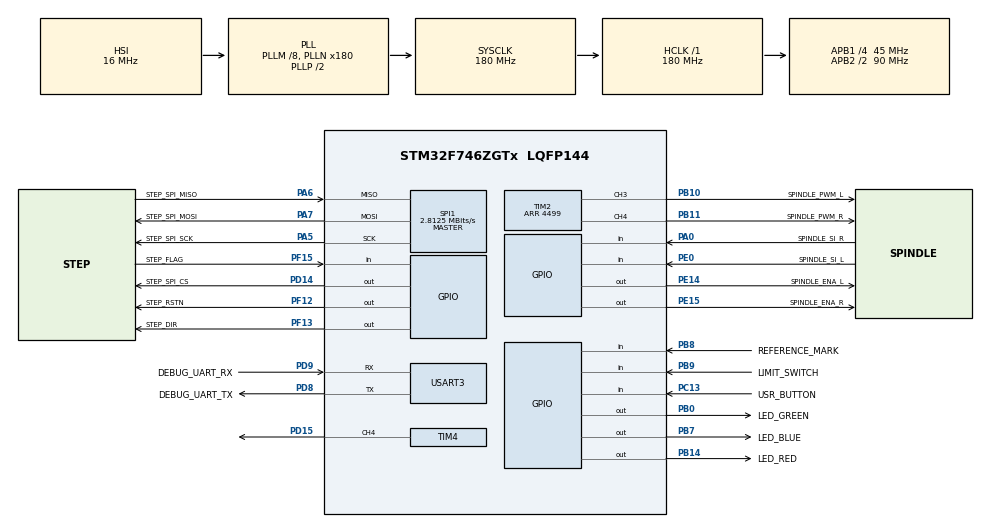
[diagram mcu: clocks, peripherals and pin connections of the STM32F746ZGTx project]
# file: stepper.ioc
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CORTEX_M7.AccessPermission_Spec=MPU_REGION_PRIV_RO_URO
CORTEX_M7.BaseAddress_S-Cortex_Memory_Protection_Unit_Region1_Settings_S=0x60000000
CORTEX_M7.DisableExec_S-Cortex_Memory_Protection_Unit_Region1_Settings_S=MPU_INSTRUCTION_ACCESS_DISABLE
CORTEX_M7.DisableExec_Spec=MPU_INSTRUCTION_ACCESS_ENABLE
CORTEX_M7.Enable_S-Cortex_Memory_Protection_Unit_Region1_Settings_S=MPU_REGION_ENABLE
CORTEX_M7.Enable_S-Cortex_Memory_Protection_Unit_Region2_Settings_S=__NULL
CORTEX_M7.IsShareable_S-Cortex_Memory_Protection_Unit_Region1_Settings_S=MPU_ACCESS_SHAREABLE
CORTEX_M7.IsShareable_Spec=MPU_ACCESS_NOT_SHAREABLE
CORTEX_M7.Size_S-Cortex_Memory_Protection_Unit_Region1_Settings_S=MPU_REGION_SIZE_4GB
CORTEX_M7.Size_Spec=MPU_REGION_SIZE_16KB
CORTEX_M7.SubRegionDisable_S-Cortex_Memory_Protection_Unit_Region1_Settings_S=0x87
CORTEX_M7.SubRegionDisable_Spec=0x0
CORTEX_M7.default_mode_Activation=1
Mcu.Family=STM32F7
Mcu.Name=STM32F746ZGTx
Mcu.Package=LQFP144
NVIC.PriorityGroup=NVIC_PRIORITYGROUP_4
NVIC.SPI1_IRQn=true\:5\:0\:true\:false\:true\:true\:true\:true
NVIC.TIM1_CC_IRQn=true\:0\:0\:false\:false\:true\:true\:true\:true
NVIC.TIM1_UP_TIM10_IRQn=true\:0\:0\:false\:false\:true\:true\:true\:true
PA0/WKUP.GPIO_Label=SPINDLE_SI_R
PA0/WKUP.Signal=GPIO_Input
PA5.GPIO_Label=STEP_SPI_SCK
PA5.Mode=Full_Duplex_Master
PA5.Signal=SPI1_SCK
PA6.GPIO_Label=STEP_SPI_MISO
PA6.Mode=Full_Duplex_Master
PA6.Signal=SPI1_MISO
PA7.GPIO_Label=STEP_SPI_MOSI
PA7.Mode=Full_Duplex_Master
PA7.Signal=SPI1_MOSI
PB0.GPIO_Label=LED_GREEN
PB0.Signal=GPIO_Output
PB10.GPIO_Label=SPINDLE_PWM_L
PB10.Signal=S_TIM2_CH3
PB11.GPIO_Label=SPINDLE_PWM_R
PB11.Signal=S_TIM2_CH4
PB14.GPIO_Label=LED_RED
PB14.Signal=GPIO_Output
PB7.GPIO_Label=LED_BLUE
PB7.Signal=GPIO_Output
PB8.GPIO_Label=REFERENCE_MARK
PB8.Signal=GPIO_Input
PB9.GPIO_Label=LIMIT_SWITCH
PB9.Signal=GPIO_Input
PC13.GPIO_Label=USR_BUTTON
PC13.Signal=GPIO_Input
PD14.GPIO_Label=STEP_SPI_CS
PD14.GPIO_Speed=GPIO_SPEED_FREQ_VERY_HIGH
PD14.PinState=GPIO_PIN_SET
PD14.Signal=GPIO_Output
PD15.Signal=S_TIM4_CH4
PD8.GPIO_Label=DEBUG_UART_TX
PD8.Mode=Asynchronous
PD8.Signal=USART3_TX
PD9.GPIO_Label=DEBUG_UART_RX
PD9.Mode=Asynchronous
PD9.Signal=USART3_RX
PE0.GPIO_Label=SPINDLE_SI_L
PE0.Signal=GPIO_Input
PE14.GPIO_Label=SPINDLE_ENA_L
PE14.Signal=GPIO_Output
PE15.GPIO_Label=SPINDLE_ENA_R
PE15.Signal=GPIO_Output
PF12.GPIO_Label=STEP_RSTN
PF12.Signal=GPIO_Output
PF13.GPIO_Label=STEP_DIR
PF13.GPIO_Speed=GPIO_SPEED_FREQ_VERY_HIGH
PF13.Signal=GPIO_Output
PF15.GPIO_Label=STEP_FLAG
PF15.GPIO_PuPd=GPIO_PULLUP
PF15.Signal=GPIO_Input
PH0/OSC_IN.Mode=HSE-External-Oscillator
PH0/OSC_IN.Signal=RCC_OSC_IN
PH1/OSC_OUT.Mode=HSE-External-Oscillator
PH1/OSC_OUT.Signal=RCC_OSC_OUT
ProjectManager.HeapSize=0x2000
ProjectManager.StackSize=0x800
ProjectManager.TargetToolchain=STM32CubeIDE
RCC.AHBFreq_Value=180000000
RCC.APB1CLKDivider=RCC_HCLK_DIV4
RCC.APB1Freq_Value=45000000
RCC.APB1TimFreq_Value=90000000
RCC.APB2CLKDivider=RCC_HCLK_DIV2
RCC.APB2Freq_Value=90000000
RCC.APB2TimFreq_Value=180000000
RCC.CortexFreq_Value=180000000
RCC.HCLKFreq_Value=180000000
RCC.HSE_VALUE=25000000
RCC.HSI_VALUE=16000000
RCC.LSE_VALUE=32768
RCC.PLLM=8
RCC.PLLN=180
RCC.SYSCLKFreq_VALUE=180000000
RCC.SYSCLKSource=RCC_SYSCLKSOURCE_PLLCLK
RCC.USBFreq_Value=180000000
RCC.VCOOutputFreq_Value=360000000
SH.S_TIM2_CH3.0=TIM2_CH3,PWM Generation3 CH3
SH.S_TIM2_CH4.0=TIM2_CH4,PWM Generation4 CH4
SH.S_TIM4_CH4.0=TIM4_CH4,PWM Generation4 CH4
SPI1.BaudRatePrescaler=SPI_BAUDRATEPRESCALER_32
SPI1.CLKPhase=SPI_PHASE_2EDGE
SPI1.CLKPolarity=SPI_POLARITY_HIGH
SPI1.CalculateBaudRate=2.8125 MBits/s
SPI1.DataSize=SPI_DATASIZE_8BIT
SPI1.Direction=SPI_DIRECTION_2LINES
SPI1.Mode=SPI_MODE_MASTER
SPI1.VirtualType=VM_MASTER
TIM1.Channel-Output\ Compare1\ No\ Output=TIM_CHANNEL_1
TIM1.TIM_MasterOutputTrigger=TIM_TRGO_ENABLE
TIM1.TIM_MasterOutputTrigger2=TIM_TRGO2_ENABLE
TIM2.Channel-PWM\ Generation3\ CH3=TIM_CHANNEL_3
TIM2.Channel-PWM\ Generation4\ CH4=TIM_CHANNEL_4
TIM2.Period=4499
TIM4.AutoReloadPreload=TIM_AUTORELOAD_PRELOAD_ENABLE
TIM4.Channel-PWM\ Generation4\ CH4=TIM_CHANNEL_4
TIM4.Period=3115
TIM4.Prescaler=1
TIM4.TIM_MasterOutputTrigger=TIM_TRGO_UPDATE
USART3.VirtualMode-Asynchronous=VM_ASYNC
VP_TIM1_VS_ClockSourceITR.Mode=TriggerSource_ITR3
VP_TIM1_VS_ControllerModeClock.Mode=Clock Mode
VP_TIM1_VS_OPM.Mode=OPM_bit
VP_TIM1_VS_no_output1.Mode=Output Compare1 No Output
VP_TIM2_VS_ClockSourceINT.Mode=Internal
VP_TIM4_VS_ClockSourceINT.Mode=Internal
VP_TIM4_VS_ClockSourceITR.Mode=TriggerSource_ITR0
VP_TIM4_VS_ControllerModeGated.Mode=Gated Mode
board=custom

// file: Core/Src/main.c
/* USER CODE BEGIN Header */
/**
 ******************************************************************************
 * @file           : main.c
 * @brief          : Main program body
 ******************************************************************************
 * @attention
 *
 * Copyright (c) 2024 STMicroelectronics.
 * All rights reserved.
 *
 * This software is licensed under terms that can be found in the LICENSE file
 * in the root directory of this software component.
 * If no LICENSE file comes with this software, it is provided AS-IS.
 *
 ******************************************************************************
 */
/* USER CODE END Header */
#include "main.h"

/* USER CODE BEGIN Includes */
#include "FreeRTOS.h"
#include "task.h"
#include "stdio.h"
#include <stdlib.h>
#include "Console.h"
#include <stdio.h>
#include <stdlib.h>
#include <string.h>
#include <stdbool.h>
#include "Spindle.h"
#include "stepper.h"

/* USER CODE END Includes */

SPI_HandleTypeDef hspi1;

TIM_HandleTypeDef htim1;
TIM_HandleTypeDef htim2;
TIM_HandleTypeDef htim4;

UART_HandleTypeDef huart3;

/* USER CODE BEGIN PV */
TaskHandle_t InitTaskHandle = NULL;
ConsoleHandle_t consoleHandle = NULL;

/* USER CODE END PV */

void SystemClock_Config(void);
static void MPU_Config(void);
static void MX_GPIO_Init(void);
static void MX_SPI1_Init(void);
static void MX_USART3_UART_Init(void);
static void MX_TIM2_Init(void);
static void MX_TIM1_Init(void);
static void MX_TIM4_Init(void);
/* USER CODE BEGIN PFP */
static int CapabilityFunc(int argc, char **argv, void *ctx);
void InitTask();

extern void initialise_stdlib_abstraction(void);
void vApplicationMallocFailedHook(void)
{
  taskDISABLE_INTERRUPTS();
  __asm volatile("bkpt #0");
  for (;;)
  {
    ;
  }
}
/*-----------------------------------------------------------*/
void vApplicationStackOverflowHook(TaskHandle_t pxTask, char *pcTaskName)
{
  (void)pcTaskName;
  (void)pxTask;

  taskDISABLE_INTERRUPTS();
  __asm volatile("bkpt #0");
  for (;;)
  {
    ;
  }
}
/* USER CODE END PFP */

/* USER CODE BEGIN 0 */
void InitTask()
{

  consoleHandle = CONSOLE_CreateInstance(4 * configMINIMAL_STACK_SIZE, configMAX_PRIORITIES - 5);

  CONSOLE_RegisterCommand(consoleHandle, "capability", "Shows what the program is capable of", CapabilityFunc, NULL);

  InitStepper(consoleHandle, &hspi1, &htim1, &htim4);
  InitSpindle(consoleHandle, &htim2);

}

// -------------------------------------------------------------------------------------------------------------------
static int CapabilityFunc(int argc, char **argv, void *ctx)
// --------------------------------------------------------------------------------------------------------------------
{
  (void)argc;
  (void)argv;
  (void)ctx;
  printf("%d,%d,%d,%d,%d,%d,%d,%d,%d,%d,%d,%d,%d,%d,%d,%d,%d,%d,%d,%d,%d,%d,%d,%d,%d,%d,%d\r\nOK",
         1, // has spindle
         1, // has spindle status
         1, // has stepper
         1, // has stepper move relative
         1, // has stepper move speed
         1, // has stepper move async
         1, // has stepper status
         1, // has stepper refrun
         1, // has stepper refrun timeout
         1, // has stepper refrun skip
         1, // has stepper refrun stay enabled
         1, // has stepper reset
         1, // has stepper position
         1, // has stepper config
         1, // has stepper config torque
         1, // has stepper config throvercurr
         1, // has stepper config powerena
         1, // has stepper config stepmode
         1, // has stepper config timeoff
         1, // has stepper config timeon
         1, // has stepper config timefast
         1, // has stepper config mmperturn
         1, // has stepper config posmax
         1, // has stepper config posmin
         1, // has stepper config posref
         1, // has stepper config stepsperturn
         1  // has stepper cancel
  );
  return 0;
}
/* USER CODE END 0 */

int main(void)
{

  /* MPU Configuration--------------------------------------------------------*/  MPU_Config();

  /* MCU Configuration--------------------------------------------------------*/

  /* Reset of all peripherals, Initializes the Flash interface and the Systick. */
  HAL_Init();

  /* Configure the system clock */
  SystemClock_Config();

  /* Initialize all configured peripherals */
  MX_GPIO_Init();
  MX_SPI1_Init();
  MX_USART3_UART_Init();
  MX_TIM2_Init();
  MX_TIM1_Init();
  MX_TIM4_Init();
  /* USER CODE BEGIN 2 */

  printf("System init start\r\n");

  //(void)CapabilityFunc;

  InitTask();
  vTaskStartScheduler();
  /* USER CODE END 2 */

  /* Infinite loop */
  while (1)
  {

    /* USER CODE BEGIN 3 */
  }
  return -1;
  /* USER CODE END 3 */
}

void SystemClock_Config(void)
{
  RCC_OscInitTypeDef RCC_OscInitStruct = {0};
  RCC_ClkInitTypeDef RCC_ClkInitStruct = {0};

  /** Configure the main internal regulator output voltage
  */
  __HAL_RCC_PWR_CLK_ENABLE();
  __HAL_PWR_VOLTAGESCALING_CONFIG(PWR_REGULATOR_VOLTAGE_SCALE1);

  /** Initializes the RCC Oscillators according to the specified parameters
  * in the RCC_OscInitTypeDef structure.
  */
  RCC_OscInitStruct.OscillatorType = RCC_OSCILLATORTYPE_HSI;
  RCC_OscInitStruct.HSIState = RCC_HSI_ON;
  RCC_OscInitStruct.HSICalibrationValue = RCC_HSICALIBRATION_DEFAULT;
  RCC_OscInitStruct.PLL.PLLState = RCC_PLL_ON;
  RCC_OscInitStruct.PLL.PLLSource = RCC_PLLSOURCE_HSI;
  RCC_OscInitStruct.PLL.PLLM = 8;
  RCC_OscInitStruct.PLL.PLLN = 180;
  RCC_OscInitStruct.PLL.PLLP = RCC_PLLP_DIV2;
  RCC_OscInitStruct.PLL.PLLQ = 2;
  if (HAL_RCC_OscConfig(&RCC_OscInitStruct) != HAL_OK)
  {
    Error_Handler();
  }

  /** Initializes the CPU, AHB and APB buses clocks
  */
  RCC_ClkInitStruct.ClockType = RCC_CLOCKTYPE_HCLK|RCC_CLOCKTYPE_SYSCLK
                              |RCC_CLOCKTYPE_PCLK1|RCC_CLOCKTYPE_PCLK2;
  RCC_ClkInitStruct.SYSCLKSource = RCC_SYSCLKSOURCE_PLLCLK;
  RCC_ClkInitStruct.AHBCLKDivider = RCC_SYSCLK_DIV1;
  RCC_ClkInitStruct.APB1CLKDivider = RCC_HCLK_DIV4;
  RCC_ClkInitStruct.APB2CLKDivider = RCC_HCLK_DIV2;

  if (HAL_RCC_ClockConfig(&RCC_ClkInitStruct, FLASH_LATENCY_5) != HAL_OK)
  {
    Error_Handler();
  }
}

static void MX_SPI1_Init(void)
{

  /* SPI1 parameter configuration*/
  hspi1.Instance = SPI1;
  hspi1.Init.Mode = SPI_MODE_MASTER;
  hspi1.Init.Direction = SPI_DIRECTION_2LINES;
  hspi1.Init.DataSize = SPI_DATASIZE_8BIT;
  hspi1.Init.CLKPolarity = SPI_POLARITY_HIGH;
  hspi1.Init.CLKPhase = SPI_PHASE_2EDGE;
  hspi1.Init.NSS = SPI_NSS_SOFT;
  hspi1.Init.BaudRatePrescaler = SPI_BAUDRATEPRESCALER_32;
  hspi1.Init.FirstBit = SPI_FIRSTBIT_MSB;
  hspi1.Init.TIMode = SPI_TIMODE_DISABLE;
  hspi1.Init.CRCCalculation = SPI_CRCCALCULATION_DISABLE;
  hspi1.Init.CRCPolynomial = 7;
  hspi1.Init.CRCLength = SPI_CRC_LENGTH_DATASIZE;
  hspi1.Init.NSSPMode = SPI_NSS_PULSE_DISABLE;
  if (HAL_SPI_Init(&hspi1) != HAL_OK)
  {
    Error_Handler();
  }

}

static void MX_TIM1_Init(void)
{

  TIM_SlaveConfigTypeDef sSlaveConfig = {0};
  TIM_MasterConfigTypeDef sMasterConfig = {0};
  TIM_OC_InitTypeDef sConfigOC = {0};
  TIM_BreakDeadTimeConfigTypeDef sBreakDeadTimeConfig = {0};

  htim1.Instance = TIM1;
  htim1.Init.Prescaler = 0;
  htim1.Init.CounterMode = TIM_COUNTERMODE_UP;
  htim1.Init.Period = 65535;
  htim1.Init.ClockDivision = TIM_CLOCKDIVISION_DIV1;
  htim1.Init.RepetitionCounter = 0;
  htim1.Init.AutoReloadPreload = TIM_AUTORELOAD_PRELOAD_DISABLE;
  if (HAL_TIM_Base_Init(&htim1) != HAL_OK)
  {
    Error_Handler();
  }
  if (HAL_TIM_OC_Init(&htim1) != HAL_OK)
  {
    Error_Handler();
  }
  if (HAL_TIM_OnePulse_Init(&htim1, TIM_OPMODE_SINGLE) != HAL_OK)
  {
    Error_Handler();
  }
  sSlaveConfig.SlaveMode = TIM_SLAVEMODE_EXTERNAL1;
  sSlaveConfig.InputTrigger = TIM_TS_ITR3;
  if (HAL_TIM_SlaveConfigSynchro(&htim1, &sSlaveConfig) != HAL_OK)
  {
    Error_Handler();
  }
  sMasterConfig.MasterOutputTrigger = TIM_TRGO_ENABLE;
  sMasterConfig.MasterOutputTrigger2 = TIM_TRGO2_ENABLE;
  sMasterConfig.MasterSlaveMode = TIM_MASTERSLAVEMODE_DISABLE;
  if (HAL_TIMEx_MasterConfigSynchronization(&htim1, &sMasterConfig) != HAL_OK)
  {
    Error_Handler();
  }
  sConfigOC.OCMode = TIM_OCMODE_TIMING;
  sConfigOC.Pulse = 0;
  sConfigOC.OCPolarity = TIM_OCPOLARITY_HIGH;
  sConfigOC.OCNPolarity = TIM_OCNPOLARITY_HIGH;
  sConfigOC.OCFastMode = TIM_OCFAST_DISABLE;
  sConfigOC.OCIdleState = TIM_OCIDLESTATE_RESET;
  sConfigOC.OCNIdleState = TIM_OCNIDLESTATE_RESET;
  if (HAL_TIM_OC_ConfigChannel(&htim1, &sConfigOC, TIM_CHANNEL_1) != HAL_OK)
  {
    Error_Handler();
  }
  sBreakDeadTimeConfig.OffStateRunMode = TIM_OSSR_DISABLE;
  sBreakDeadTimeConfig.OffStateIDLEMode = TIM_OSSI_DISABLE;
  sBreakDeadTimeConfig.LockLevel = TIM_LOCKLEVEL_OFF;
  sBreakDeadTimeConfig.DeadTime = 0;
  sBreakDeadTimeConfig.BreakState = TIM_BREAK_DISABLE;
  sBreakDeadTimeConfig.BreakPolarity = TIM_BREAKPOLARITY_HIGH;
  sBreakDeadTimeConfig.BreakFilter = 0;
  sBreakDeadTimeConfig.Break2State = TIM_BREAK2_DISABLE;
  sBreakDeadTimeConfig.Break2Polarity = TIM_BREAK2POLARITY_HIGH;
  sBreakDeadTimeConfig.Break2Filter = 0;
  sBreakDeadTimeConfig.AutomaticOutput = TIM_AUTOMATICOUTPUT_DISABLE;
  if (HAL_TIMEx_ConfigBreakDeadTime(&htim1, &sBreakDeadTimeConfig) != HAL_OK)
  {
    Error_Handler();
  }

}

static void MX_TIM2_Init(void)
{

  TIM_ClockConfigTypeDef sClockSourceConfig = {0};
  TIM_MasterConfigTypeDef sMasterConfig = {0};
  TIM_OC_InitTypeDef sConfigOC = {0};

  htim2.Instance = TIM2;
  htim2.Init.Prescaler = 0;
  htim2.Init.CounterMode = TIM_COUNTERMODE_UP;
  htim2.Init.Period = 4499;
  htim2.Init.ClockDivision = TIM_CLOCKDIVISION_DIV1;
  htim2.Init.AutoReloadPreload = TIM_AUTORELOAD_PRELOAD_DISABLE;
  if (HAL_TIM_Base_Init(&htim2) != HAL_OK)
  {
    Error_Handler();
  }
  sClockSourceConfig.ClockSource = TIM_CLOCKSOURCE_INTERNAL;
  if (HAL_TIM_ConfigClockSource(&htim2, &sClockSourceConfig) != HAL_OK)
  {
    Error_Handler();
  }
  if (HAL_TIM_PWM_Init(&htim2) != HAL_OK)
  {
    Error_Handler();
  }
  sMasterConfig.MasterOutputTrigger = TIM_TRGO_RESET;
  sMasterConfig.MasterSlaveMode = TIM_MASTERSLAVEMODE_DISABLE;
  if (HAL_TIMEx_MasterConfigSynchronization(&htim2, &sMasterConfig) != HAL_OK)
  {
    Error_Handler();
  }
  sConfigOC.OCMode = TIM_OCMODE_PWM1;
  sConfigOC.Pulse = 0;
  sConfigOC.OCPolarity = TIM_OCPOLARITY_HIGH;
  sConfigOC.OCFastMode = TIM_OCFAST_DISABLE;
  if (HAL_TIM_PWM_ConfigChannel(&htim2, &sConfigOC, TIM_CHANNEL_3) != HAL_OK)
  {
    Error_Handler();
  }
  if (HAL_TIM_PWM_ConfigChannel(&htim2, &sConfigOC, TIM_CHANNEL_4) != HAL_OK)
  {
    Error_Handler();
  }
  HAL_TIM_MspPostInit(&htim2);

}

static void MX_TIM4_Init(void)
{

  TIM_ClockConfigTypeDef sClockSourceConfig = {0};
  TIM_SlaveConfigTypeDef sSlaveConfig = {0};
  TIM_MasterConfigTypeDef sMasterConfig = {0};
  TIM_OC_InitTypeDef sConfigOC = {0};

  htim4.Instance = TIM4;
  htim4.Init.Prescaler = 1;
  htim4.Init.CounterMode = TIM_COUNTERMODE_UP;
  htim4.Init.Period = 3115;
  htim4.Init.ClockDivision = TIM_CLOCKDIVISION_DIV1;
  htim4.Init.AutoReloadPreload = TIM_AUTORELOAD_PRELOAD_ENABLE;
  if (HAL_TIM_Base_Init(&htim4) != HAL_OK)
  {
    Error_Handler();
  }
  sClockSourceConfig.ClockSource = TIM_CLOCKSOURCE_INTERNAL;
  if (HAL_TIM_ConfigClockSource(&htim4, &sClockSourceConfig) != HAL_OK)
  {
    Error_Handler();
  }
  if (HAL_TIM_PWM_Init(&htim4) != HAL_OK)
  {
    Error_Handler();
  }
  sSlaveConfig.SlaveMode = TIM_SLAVEMODE_GATED;
  sSlaveConfig.InputTrigger = TIM_TS_ITR0;
  if (HAL_TIM_SlaveConfigSynchro(&htim4, &sSlaveConfig) != HAL_OK)
  {
    Error_Handler();
  }
  sMasterConfig.MasterOutputTrigger = TIM_TRGO_UPDATE;
  sMasterConfig.MasterSlaveMode = TIM_MASTERSLAVEMODE_DISABLE;
  if (HAL_TIMEx_MasterConfigSynchronization(&htim4, &sMasterConfig) != HAL_OK)
  {
    Error_Handler();
  }
  sConfigOC.OCMode = TIM_OCMODE_PWM1;
  sConfigOC.Pulse = 0;
  sConfigOC.OCPolarity = TIM_OCPOLARITY_HIGH;
  sConfigOC.OCFastMode = TIM_OCFAST_DISABLE;
  if (HAL_TIM_PWM_ConfigChannel(&htim4, &sConfigOC, TIM_CHANNEL_4) != HAL_OK)
  {
    Error_Handler();
  }
  HAL_TIM_MspPostInit(&htim4);

}

static void MX_USART3_UART_Init(void)
{

  huart3.Instance = USART3;
  huart3.Init.BaudRate = 115200;
  huart3.Init.WordLength = UART_WORDLENGTH_8B;
  huart3.Init.StopBits = UART_STOPBITS_1;
  huart3.Init.Parity = UART_PARITY_NONE;
  huart3.Init.Mode = UART_MODE_TX_RX;
  huart3.Init.HwFlowCtl = UART_HWCONTROL_NONE;
  huart3.Init.OverSampling = UART_OVERSAMPLING_16;
  huart3.Init.OneBitSampling = UART_ONE_BIT_SAMPLE_DISABLE;
  huart3.AdvancedInit.AdvFeatureInit = UART_ADVFEATURE_NO_INIT;
  if (HAL_UART_Init(&huart3) != HAL_OK)
  {
    Error_Handler();
  }

}

static void MX_GPIO_Init(void)
{
  GPIO_InitTypeDef GPIO_InitStruct = {0};

  /* GPIO Ports Clock Enable */
  __HAL_RCC_GPIOC_CLK_ENABLE();
  __HAL_RCC_GPIOH_CLK_ENABLE();
  __HAL_RCC_GPIOA_CLK_ENABLE();
  __HAL_RCC_GPIOB_CLK_ENABLE();
  __HAL_RCC_GPIOF_CLK_ENABLE();
  __HAL_RCC_GPIOE_CLK_ENABLE();
  __HAL_RCC_GPIOD_CLK_ENABLE();

  /*Configure GPIO pin Output Level */
  HAL_GPIO_WritePin(GPIOB, LED_GREEN_Pin|LED_RED_Pin|LED_BLUE_Pin, GPIO_PIN_RESET);

  /*Configure GPIO pin Output Level */
  HAL_GPIO_WritePin(GPIOF, STEP_RSTN_Pin|STEP_DIR_Pin, GPIO_PIN_RESET);

  /*Configure GPIO pin Output Level */
  HAL_GPIO_WritePin(GPIOE, SPINDLE_ENA_L_Pin|SPINDLE_ENA_R_Pin, GPIO_PIN_RESET);

  /*Configure GPIO pin Output Level */
  HAL_GPIO_WritePin(STEP_SPI_CS_GPIO_Port, STEP_SPI_CS_Pin, GPIO_PIN_SET);

  /*Configure GPIO pin : USR_BUTTON_Pin */
  GPIO_InitStruct.Pin = USR_BUTTON_Pin;
  GPIO_InitStruct.Mode = GPIO_MODE_INPUT;
  GPIO_InitStruct.Pull = GPIO_NOPULL;
  HAL_GPIO_Init(USR_BUTTON_GPIO_Port, &GPIO_InitStruct);

  /*Configure GPIO pin : SPINDLE_SI_R_Pin */
  GPIO_InitStruct.Pin = SPINDLE_SI_R_Pin;
  GPIO_InitStruct.Mode = GPIO_MODE_INPUT;
  GPIO_InitStruct.Pull = GPIO_NOPULL;
  HAL_GPIO_Init(SPINDLE_SI_R_GPIO_Port, &GPIO_InitStruct);

  /*Configure GPIO pins : LED_GREEN_Pin LED_RED_Pin LED_BLUE_Pin */
  GPIO_InitStruct.Pin = LED_GREEN_Pin|LED_RED_Pin|LED_BLUE_Pin;
  GPIO_InitStruct.Mode = GPIO_MODE_OUTPUT_PP;
  GPIO_InitStruct.Pull = GPIO_NOPULL;
  GPIO_InitStruct.Speed = GPIO_SPEED_FREQ_LOW;
  HAL_GPIO_Init(GPIOB, &GPIO_InitStruct);

  /*Configure GPIO pin : STEP_RSTN_Pin */
  GPIO_InitStruct.Pin = STEP_RSTN_Pin;
  GPIO_InitStruct.Mode = GPIO_MODE_OUTPUT_PP;
  GPIO_InitStruct.Pull = GPIO_NOPULL;
  GPIO_InitStruct.Speed = GPIO_SPEED_FREQ_LOW;
  HAL_GPIO_Init(STEP_RSTN_GPIO_Port, &GPIO_InitStruct);

  /*Configure GPIO pin : STEP_DIR_Pin */
  GPIO_InitStruct.Pin = STEP_DIR_Pin;
  GPIO_InitStruct.Mode = GPIO_MODE_OUTPUT_PP;
  GPIO_InitStruct.Pull = GPIO_NOPULL;
  GPIO_InitStruct.Speed = GPIO_SPEED_FREQ_VERY_HIGH;
  HAL_GPIO_Init(STEP_DIR_GPIO_Port, &GPIO_InitStruct);

  /*Configure GPIO pin : STEP_FLAG_Pin */
  GPIO_InitStruct.Pin = STEP_FLAG_Pin;
  GPIO_InitStruct.Mode = GPIO_MODE_INPUT;
  GPIO_InitStruct.Pull = GPIO_PULLUP;
  HAL_GPIO_Init(STEP_FLAG_GPIO_Port, &GPIO_InitStruct);

  /*Configure GPIO pins : SPINDLE_ENA_L_Pin SPINDLE_ENA_R_Pin */
  GPIO_InitStruct.Pin = SPINDLE_ENA_L_Pin|SPINDLE_ENA_R_Pin;
  GPIO_InitStruct.Mode = GPIO_MODE_OUTPUT_PP;
  GPIO_InitStruct.Pull = GPIO_NOPULL;
  GPIO_InitStruct.Speed = GPIO_SPEED_FREQ_LOW;
  HAL_GPIO_Init(GPIOE, &GPIO_InitStruct);

  /*Configure GPIO pin : STEP_SPI_CS_Pin */
  GPIO_InitStruct.Pin = STEP_SPI_CS_Pin;
  GPIO_InitStruct.Mode = GPIO_MODE_OUTPUT_PP;
  GPIO_InitStruct.Pull = GPIO_NOPULL;
  GPIO_InitStruct.Speed = GPIO_SPEED_FREQ_VERY_HIGH;
  HAL_GPIO_Init(STEP_SPI_CS_GPIO_Port, &GPIO_InitStruct);

  /*Configure GPIO pins : REFERENCE_MARK_Pin LIMIT_SWITCH_Pin */
  GPIO_InitStruct.Pin = REFERENCE_MARK_Pin|LIMIT_SWITCH_Pin;
  GPIO_InitStruct.Mode = GPIO_MODE_INPUT;
  GPIO_InitStruct.Pull = GPIO_NOPULL;
  HAL_GPIO_Init(GPIOB, &GPIO_InitStruct);

  /*Configure GPIO pin : SPINDLE_SI_L_Pin */
  GPIO_InitStruct.Pin = SPINDLE_SI_L_Pin;
  GPIO_InitStruct.Mode = GPIO_MODE_INPUT;
  GPIO_InitStruct.Pull = GPIO_NOPULL;
  HAL_GPIO_Init(SPINDLE_SI_L_GPIO_Port, &GPIO_InitStruct);

}

/* USER CODE BEGIN 4 */
void vAssertCalled(const char *const pcFileName, unsigned long ulLine)
{
  volatile uint32_t ulSetToNonZeroInDebuggerToContinue = 0;

  /* Parameters are not used. */
  (void)ulLine;
  (void)pcFileName;

  taskENTER_CRITICAL();
  {
    /* You can step out of this function to debug the assertion by using
     the debugger to set ulSetToNonZeroInDebuggerToContinue to a non-zero
     value. */
    while (ulSetToNonZeroInDebuggerToContinue == 0)
    {
    }
  }
  taskEXIT_CRITICAL();
}

int __stdout_put_char(int ch)
{
  uint8_t val = ch;
  while ((huart3.Instance->ISR & UART_FLAG_TXE) == 0)
    ;
  huart3.Instance->TDR = val;
  while ((huart3.Instance->ISR & UART_FLAG_TC) == 0)
    ;
  return 0;
}

int __stdin_get_char(void)
{
  if (huart3.Instance->ISR & UART_FLAG_ORE)
    huart3.Instance->ICR = UART_CLEAR_OREF;

  if (huart3.Instance->ISR & UART_FLAG_NE)
    huart3.Instance->ICR = UART_CLEAR_NEF;

  if (huart3.Instance->ISR & UART_FLAG_FE)
    huart3.Instance->ICR = UART_CLEAR_FEF;

  if ((huart3.Instance->ISR & UART_FLAG_RXNE) == 0)
    return -1;
  return huart3.Instance->RDR;
}
/* USER CODE END 4 */

 /* MPU Configuration */

void MPU_Config(void)
{
  MPU_Region_InitTypeDef MPU_InitStruct = {0};

  /* Disables the MPU */
  HAL_MPU_Disable();

  /** Initializes and configures the Region and the memory to be protected
  */
  MPU_InitStruct.Enable = MPU_REGION_ENABLE;
  MPU_InitStruct.Number = MPU_REGION_NUMBER0;
  MPU_InitStruct.BaseAddress = 0x0;
  MPU_InitStruct.Size = MPU_REGION_SIZE_16KB;
  MPU_InitStruct.SubRegionDisable = 0x0;
  MPU_InitStruct.TypeExtField = MPU_TEX_LEVEL0;
  MPU_InitStruct.AccessPermission = MPU_REGION_PRIV_RO_URO;
  MPU_InitStruct.DisableExec = MPU_INSTRUCTION_ACCESS_ENABLE;
  MPU_InitStruct.IsShareable = MPU_ACCESS_NOT_SHAREABLE;
  MPU_InitStruct.IsCacheable = MPU_ACCESS_NOT_CACHEABLE;
  MPU_InitStruct.IsBufferable = MPU_ACCESS_NOT_BUFFERABLE;

  HAL_MPU_ConfigRegion(&MPU_InitStruct);

  /** Initializes and configures the Region and the memory to be protected
  */
  MPU_InitStruct.Number = MPU_REGION_NUMBER1;
  MPU_InitStruct.BaseAddress = 0x60000000;
  MPU_InitStruct.Size = MPU_REGION_SIZE_4GB;
  MPU_InitStruct.SubRegionDisable = 0x87;
  MPU_InitStruct.AccessPermission = MPU_REGION_NO_ACCESS;
  MPU_InitStruct.DisableExec = MPU_INSTRUCTION_ACCESS_DISABLE;
  MPU_InitStruct.IsShareable = MPU_ACCESS_SHAREABLE;

  HAL_MPU_ConfigRegion(&MPU_InitStruct);
  /* Enables the MPU */
  HAL_MPU_Enable(MPU_PRIVILEGED_DEFAULT);

}

void Error_Handler(void)
{
  __disable_irq();
  while (1)
  {
  }
}

#ifdef  USE_FULL_ASSERT
/**
  * @brief  Reports the name of the source file and the source line number
  *         where the assert_param error has occurred.
  * @param  file: pointer to the source file name
  * @param  line: assert_param error line source number
  * @retval None
  */
void assert_failed(uint8_t *file, uint32_t line)
{
  /* USER CODE BEGIN 6 */
  portENTER_CRITICAL();

  printf("HAL_ASSERT: %s:::%u\r\n", (char *)file, (unsigned int)line);
  assert(0);

  portEXIT_CRITICAL();
  /* USER CODE END 6 */
}
#endif /* USE_FULL_ASSERT */
